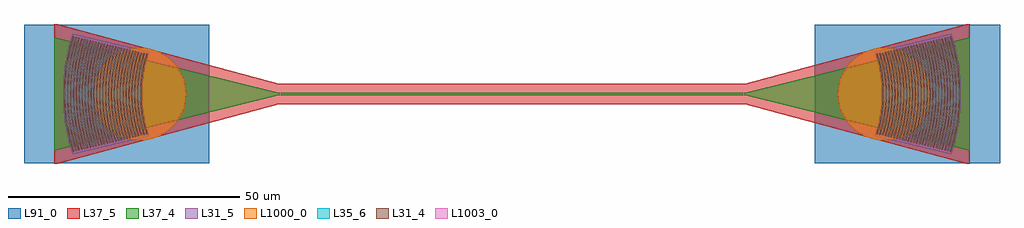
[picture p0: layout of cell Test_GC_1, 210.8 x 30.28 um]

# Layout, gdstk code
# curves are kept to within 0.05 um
from math import pi, radians
import gdstk
lib = gdstk.Library(unit=1e-6, precision=1e-09)
def R(c, l, rs):  # rectangles x0, y0, x1, y1
    for r in rs: c.add(gdstk.rectangle(r[:2], r[2:], *l))
def P(c, l, *ps):  # polygons
    for p in ps: c.add(gdstk.Polygon(p, *l))
L31_4 = (31, 4)
L31_5 = (31, 5)
L35_6 = (35, 6)
L37_4 = (37, 4)
L37_5 = (37, 5)
L91_0 = (91, 0)
L1000_0 = (1000, 0)
L1003_0 = (1003, 0)

fgccte_fcwfc1dc_630_378 = lib.new_cell('FGCCTE_FCWFC1DC_630_378')
P(fgccte_fcwfc1dc_630_378, L31_4, [(1.595,-8.78),(1.41,-8.65),(1.125,-7.745),(0.455,-4.97),(0.125,-2.615),(0,-0.24),(0.025,1.19),(0.125,2.615),(0.455,4.97),(1.125,7.745),(1.41,8.65),(1.595,8.78),(1.78,8.565),(1.125,6.3),(0.675,3.99),(0.46,2.12),(0.38,0.235),(0.43,-1.65),(0.61,-3.525),(0.83,-4.92),(1.125,-6.3),(1.78,-8.565)],
  [(0.98,-8.925),(0.795,-8.795),(0.505,-7.875),(0.13,-6.47),(-0.17,-5.05),(-0.505,-2.655),(-0.63,-0.24),(-0.605,1.21),(-0.505,2.655),(-0.17,5.05),(0.13,6.47),(0.505,7.875),(0.795,8.795),(0.98,8.925),(1.165,8.71),(0.395,5.94),(-0.02,3.58),(-0.17,2.155),(-0.25,0.24),(-0.2,-1.675),(-0.02,-3.58),(0.395,-5.94),(1.165,-8.71)],
  [(0.37,-9.07),(0.185,-8.94),(-0.11,-8.005),(-0.49,-6.575),(-0.795,-5.135),(-1.135,-2.7),(-1.26,-0.245),(-1.175,2.21),(-0.88,4.65),(-0.6,6.1),(-0.245,7.53),(0.185,8.94),(0.37,9.07),(0.55,8.855),(-0.115,6.515),(-0.58,4.125),(-0.8,2.19),(-0.88,0.245),(-0.8,-2.19),(-0.58,-4.125),(-0.115,-6.515),(0.55,-8.855)],
  [(-0.245,-9.215),(-0.43,-9.085),(-0.725,-8.13),(-1.11,-6.685),(-1.42,-5.215),(-1.76,-2.745),(-1.89,-0.25),(-1.805,2.245),(-1.65,3.735),(-1.42,5.215),(-1.11,6.685),(-0.725,8.13),(-0.43,9.085),(-0.245,9.215),(-0.06,9),(-0.735,6.62),(-1.045,5.165),(-1.275,3.7),(-1.46,1.73),(-1.515,0.245),(-1.46,-1.73),(-1.275,-3.7),(-1.045,-5.165),(-0.735,-6.62),(-0.06,-9)],
  [(-0.86,-9.36),(-1.04,-9.23),(-1.34,-8.26),(-1.73,-6.79),(-2.04,-5.3),(-2.39,-2.785),(-2.52,-0.255),(-2.435,2.28),(-2.13,4.8),(-1.845,6.295),(-1.48,7.775),(-1.04,9.23),(-0.86,9.36),(-0.675,9.145),(-1.36,6.725),(-1.83,4.26),(-2.055,2.26),(-2.145,0.25),(-2.09,-1.76),(-1.9,-3.76),(-1.67,-5.25),(-1.36,-6.725),(-0.675,-9.145)],
  [(-1.47,-9.5),(-1.655,-9.375),(-1.96,-8.39),(-2.35,-6.895),(-2.665,-5.38),(-3.02,-2.83),(-3.15,-0.26),(-3.065,2.315),(-2.755,4.875),(-2.465,6.395),(-2.1,7.895),(-1.655,9.375),(-1.47,9.5),(-1.285,9.29),(-1.98,6.83),(-2.46,4.325),(-2.685,2.295),(-2.775,0.255),(-2.72,-1.785),(-2.53,-3.82),(-1.98,-6.83),(-1.285,-9.29)],
  [(-2.085,-9.645),(-2.265,-9.52),(-2.575,-8.52),(-2.975,-7),(-3.29,-5.465),(-3.65,-2.875),(-3.78,-0.26),(-3.755,1.31),(-3.65,2.875),(-3.38,4.95),(-3.09,6.49),(-2.715,8.015),(-2.265,9.52),(-2.085,9.645),(-1.9,9.435),(-2.6,6.94),(-3.085,4.39),(-3.315,2.33),(-3.405,0.26),(-3.35,-1.815),(-3.155,-3.88),(-2.915,-5.415),(-2.6,-6.94),(-1.9,-9.435)],
  [(-2.695,-9.79),(-2.88,-9.665),(-3.2,-8.62),(-3.61,-7.035),(-3.935,-5.43),(-4.295,-2.725),(-4.415,0),(-4.295,2.725),(-3.935,5.43),(-3.61,7.035),(-3.2,8.62),(-2.88,9.665),(-2.695,9.79),(-2.51,9.58),(-2.975,8.02),(-3.355,6.445),(-3.805,3.775),(-3.96,2.16),(-4.035,0),(-3.96,-2.16),(-3.805,-3.775),(-3.355,-6.445),(-2.975,-8.02),(-2.51,-9.58)],
  [(-3.31,-9.935),(-3.495,-9.81),(-3.815,-8.75),(-4.23,-7.14),(-4.56,-5.51),(-4.925,-2.765),(-5.045,0),(-4.925,2.765),(-4.56,5.51),(-4.23,7.14),(-3.815,8.75),(-3.495,9.81),(-3.31,9.935),(-3.125,9.725),(-3.86,7.075),(-4.36,4.38),(-4.59,2.195),(-4.665,0),(-4.59,-2.195),(-4.36,-4.38),(-3.86,-7.075),(-3.125,-9.725)],
  [(-3.92,-10.08),(-4.105,-9.955),(-4.43,-8.88),(-4.85,-7.245),(-5.185,-5.59),(-5.55,-2.805),(-5.675,0),(-5.55,2.805),(-5.185,5.59),(-4.85,7.245),(-4.43,8.88),(-4.105,9.955),(-3.92,10.08),(-3.74,9.865),(-4.48,7.18),(-4.985,4.445),(-5.22,2.225),(-5.295,0),(-5.22,-2.225),(-4.985,-4.445),(-4.48,-7.18),(-3.74,-9.865)],
  [(-4.535,-10.225),(-4.72,-10.1),(-5.05,-9.005),(-5.475,-7.35),(-5.81,-5.675),(-6.18,-2.845),(-6.305,0),(-6.18,2.845),(-5.81,5.675),(-5.475,7.35),(-5.05,9.005),(-4.72,10.1),(-4.535,10.225),(-4.35,10.01),(-5.1,7.285),(-5.61,4.51),(-5.845,2.26),(-5.925,0),(-5.845,-2.26),(-5.61,-4.51),(-5.1,-7.285),(-4.35,-10.01)],
  [(-5.145,-10.37),(-5.33,-10.245),(-5.665,-9.135),(-6.095,-7.455),(-6.435,-5.755),(-6.81,-2.89),(-6.935,0),(-6.81,2.89),(-6.435,5.755),(-6.095,7.455),(-5.665,9.135),(-5.33,10.245),(-5.145,10.37),(-4.965,10.155),(-5.72,7.39),(-6.24,4.575),(-6.475,2.29),(-6.555,0),(-6.475,-2.29),(-6.24,-4.575),(-5.72,-7.39),(-4.965,-10.155)],
  [(-5.76,-10.515),(-5.945,-10.39),(-6.28,-9.265),(-6.715,-7.56),(-7.06,-5.835),(-7.44,-2.93),(-7.565,0),(-7.44,2.93),(-7.06,5.835),(-6.715,7.56),(-6.28,9.265),(-5.945,10.39),(-5.76,10.515),(-5.575,10.3),(-6.345,7.495),(-6.865,4.635),(-7.105,2.325),(-7.185,0),(-7.105,-2.325),(-6.865,-4.635),(-6.345,-7.495),(-5.575,-10.3)],
  [(-6.37,-10.66),(-6.555,-10.53),(-6.9,-9.395),(-7.335,-7.665),(-7.685,-5.915),(-8.065,-2.97),(-8.195,0),(-8.065,2.97),(-7.685,5.915),(-7.335,7.665),(-6.9,9.395),(-6.555,10.53),(-6.37,10.66),(-6.19,10.445),(-6.965,7.6),(-7.495,4.7),(-7.735,2.355),(-7.815,0),(-7.735,-2.355),(-7.495,-4.7),(-6.965,-7.6),(-6.19,-10.445)],
  [(-6.985,-10.805),(-7.17,-10.675),(-7.515,-9.52),(-7.96,-7.77),(-8.31,-5.995),(-8.695,-3.01),(-8.825,0),(-8.695,3.01),(-8.31,5.995),(-7.96,7.77),(-7.515,9.52),(-7.17,10.675),(-6.985,10.805),(-6.8,10.59),(-7.585,7.705),(-8.12,4.765),(-8.365,2.39),(-8.445,0),(-8.365,-2.39),(-8.12,-4.765),(-7.585,-7.705),(-6.8,-10.59)],
  [(-7.595,-10.945),(-7.78,-10.82),(-8.13,-9.65),(-8.58,-7.875),(-8.935,-6.075),(-9.325,-3.05),(-9.455,0),(-9.325,3.05),(-8.935,6.075),(-8.58,7.875),(-8.13,9.65),(-7.78,10.82),(-7.595,10.945),(-7.415,10.735),(-8.205,7.81),(-8.745,4.83),(-8.995,2.42),(-9.075,0),(-8.995,-2.42),(-8.745,-4.83),(-8.205,-7.81),(-7.415,-10.735)],
  [(-8.21,-11.09),(-8.395,-10.965),(-8.755,-9.745),(-9.22,-7.89),(-9.585,-6.02),(-9.975,-2.86),(-10.085,-0.32),(-9.975,2.86),(-9.585,6.02),(-9.22,7.89),(-8.755,9.745),(-8.395,10.965),(-8.21,11.09),(-8.025,10.88),(-8.705,8.445),(-9.31,5.345),(-9.595,2.84),(-9.705,0.315),(-9.64,-2.21),(-9.395,-4.72),(-8.845,-7.83),(-8.025,-10.88)],
  [(-8.825,-11.235),(-9.005,-11.11),(-9.54,-9.25),(-10.21,-6.095),(-10.545,-3.54),(-10.715,-0.32),(-10.6,2.9),(-10.21,6.095),(-9.54,9.25),(-9.005,11.11),(-8.825,11.235),(-8.64,11.025),(-9.465,7.935),(-10.025,4.785),(-10.27,2.24),(-10.335,0.32),(-10.27,-2.24),(-10.025,-4.785),(-9.465,-7.935),(-8.64,-11.025)],
  [(-9.435,-11.38),(-9.62,-11.255),(-9.99,-10),(-10.46,-8.1),(-10.835,-6.175),(-11.175,-3.585),(-11.345,-0.325),(-11.23,2.935),(-10.835,6.175),(-10.46,8.1),(-9.99,10),(-9.62,11.255),(-9.435,11.38),(-9.25,11.165),(-10.09,8.035),(-10.65,4.845),(-10.855,2.915),(-10.965,0.325),(-10.9,-2.265),(-10.65,-4.845),(-10.09,-8.035),(-9.25,-11.165)],
  [(-10.05,-11.525),(-10.23,-11.4),(-10.605,-10.13),(-11.085,-8.205),(-11.46,-6.255),(-11.805,-3.63),(-11.975,-0.33),(-11.86,2.975),(-11.46,6.255),(-11.085,8.205),(-10.605,10.13),(-10.23,11.4),(-10.05,11.525),(-9.865,11.31),(-10.71,8.14),(-11.275,4.91),(-11.485,2.95),(-11.595,0.33),(-11.53,-2.295),(-11.275,-4.91),(-10.71,-8.14),(-9.865,-11.31)],
  [(-10.66,-11.67),(-10.845,-11.54),(-11.395,-9.61),(-12.085,-6.335),(-12.49,-3.01),(-12.605,-0.335),(-12.49,3.01),(-12.085,6.335),(-11.395,9.61),(-10.845,11.54),(-10.66,11.67),(-10.475,11.455),(-11.025,9.54),(-11.33,8.245),(-11.815,5.63),(-12.11,2.99),(-12.225,0.33),(-12.16,-2.325),(-11.905,-4.97),(-11.33,-8.245),(-11.025,-9.54),(-10.475,-11.455)],
  [(-11.275,-11.815),(-11.455,-11.685),(-11.84,-10.385),(-12.325,-8.41),(-12.71,-6.41),(-13.12,-3.05),(-13.235,-0.34),(-13.12,3.05),(-12.71,6.41),(-12.325,8.41),(-11.84,10.385),(-11.455,11.685),(-11.275,11.815),(-11.09,11.6),(-11.47,10.31),(-11.95,8.35),(-12.44,5.7),(-12.74,3.025),(-12.855,0.335),(-12.785,-2.355),(-12.53,-5.035),(-12.22,-7.03),(-11.95,-8.35),(-11.47,-10.31),(-11.09,-11.6)],
  [(-11.885,-11.955),(-12.07,-11.83),(-12.455,-10.515),(-12.945,-8.515),(-13.335,-6.49),(-13.69,-3.77),(-13.865,-0.345),(-13.855,1.03),(-13.745,3.085),(-13.335,6.49),(-12.945,8.515),(-12.455,10.515),(-12.07,11.83),(-11.885,11.955),(-11.7,11.745),(-12.575,8.45),(-13.16,5.095),(-13.37,3.065),(-13.485,0.34),(-13.415,-2.385),(-13.16,-5.095),(-12.575,-8.45),(-11.7,-11.745)],
  [(-12.495,-12.1),(-12.68,-11.975),(-13.25,-9.97),(-13.96,-6.57),(-14.375,-3.125),(-14.495,-0.345),(-14.485,1.04),(-14.375,3.125),(-13.96,6.57),(-13.25,9.97),(-12.68,11.975),(-12.495,12.1),(-12.315,11.89),(-13.195,8.555),(-13.785,5.16),(-14,3.1),(-14.12,0.345),(-14.045,-2.41),(-13.785,-5.16),(-13.195,-8.555),(-12.315,-11.89)],
  [(-13.11,-12.245),(-13.295,-12.12),(-13.865,-10.09),(-14.19,-8.72),(-14.585,-6.65),(-14.945,-3.86),(-15.055,-2.46),(-15.125,-0.35),(-15.115,1.055),(-15.005,3.16),(-14.875,4.56),(-14.585,6.65),(-14.19,8.72),(-13.865,10.09),(-13.295,12.12),(-13.11,12.245),(-12.925,12.035),(-13.815,8.66),(-14.315,5.91),(-14.63,3.14),(-14.75,0.35),(-14.675,-2.44),(-14.41,-5.22),(-14.21,-6.6),(-13.815,-8.66),(-12.925,-12.035)],
  [(-13.72,-12.39),(-13.905,-12.265),(-14.305,-10.895),(-14.81,-8.825),(-15.21,-6.73),(-15.575,-3.905),(-15.685,-2.49),(-15.755,-0.355),(-15.745,1.065),(-15.635,3.2),(-15.21,6.73),(-14.81,8.825),(-14.305,10.895),(-13.905,12.265),(-13.72,12.39),(-13.54,12.175),(-14.28,9.45),(-14.945,5.98),(-15.255,3.175),(-15.38,0.355),(-15.305,-2.47),(-15.04,-5.285),(-14.715,-7.375),(-14.435,-8.76),(-14.115,-10.135),(-13.54,-12.175)],
  [(-14.335,-12.535),(-14.52,-12.405),(-14.92,-11.025),(-15.43,-8.925),(-15.835,-6.805),(-16.045,-5.38),(-16.265,-3.235),(-16.385,-0.36),(-16.375,1.08),(-16.265,3.235),(-16.045,5.38),(-15.835,6.805),(-15.43,8.925),(-14.92,11.025),(-14.52,12.405),(-14.335,12.535),(-14.15,12.32),(-14.55,10.95),(-15.06,8.865),(-15.57,6.055),(-15.885,3.215),(-16.01,0.355),(-15.935,-2.5),(-15.665,-5.345),(-15.34,-7.465),(-15.06,-8.865),(-14.55,-10.95),(-14.15,-12.32)])
P(fgccte_fcwfc1dc_630_378, L31_5, [(-14.375,-13.03),(-14.53,-12.94),(-15.13,-10.895),(-15.915,-7.34),(-16.395,-3.73),(-16.555,-0.64),(-16.465,2.82),(-16.065,6.44),(-15.355,10.015),(-14.53,12.94),(-14.375,13.03),(2.02,9.155),(2.105,8.995),(1.425,6.795),(0.9,4.335),(0.68,2.655),(0.55,0.325),(0.605,-1.725),(0.855,-4.05),(1.38,-6.62),(2.105,-8.995),(2.02,-9.155)])
P(fgccte_fcwfc1dc_630_378, L35_6, [(1.595,-8.78),(1.41,-8.65),(1.125,-7.745),(0.455,-4.97),(0.125,-2.615),(0,-0.24),(0.025,1.19),(0.125,2.615),(0.455,4.97),(1.125,7.745),(1.41,8.65),(1.595,8.78),(1.78,8.565),(1.125,6.3),(0.675,3.99),(0.46,2.12),(0.38,0.235),(0.43,-1.65),(0.61,-3.525),(0.83,-4.92),(1.125,-6.3),(1.78,-8.565)],
  [(0.98,-8.925),(0.795,-8.795),(0.505,-7.875),(0.13,-6.47),(-0.17,-5.05),(-0.505,-2.655),(-0.63,-0.24),(-0.605,1.21),(-0.505,2.655),(-0.17,5.05),(0.13,6.47),(0.505,7.875),(0.795,8.795),(0.98,8.925),(1.165,8.71),(0.395,5.94),(-0.02,3.58),(-0.17,2.155),(-0.25,0.24),(-0.2,-1.675),(-0.02,-3.58),(0.395,-5.94),(1.165,-8.71)],
  [(0.37,-9.07),(0.185,-8.94),(-0.11,-8.005),(-0.49,-6.575),(-0.795,-5.135),(-1.135,-2.7),(-1.26,-0.245),(-1.175,2.21),(-0.88,4.65),(-0.6,6.1),(-0.245,7.53),(0.185,8.94),(0.37,9.07),(0.55,8.855),(-0.115,6.515),(-0.58,4.125),(-0.8,2.19),(-0.88,0.245),(-0.8,-2.19),(-0.58,-4.125),(-0.115,-6.515),(0.55,-8.855)],
  [(-0.245,-9.215),(-0.43,-9.085),(-0.725,-8.13),(-1.11,-6.685),(-1.42,-5.215),(-1.76,-2.745),(-1.89,-0.25),(-1.805,2.245),(-1.65,3.735),(-1.42,5.215),(-1.11,6.685),(-0.725,8.13),(-0.43,9.085),(-0.245,9.215),(-0.06,9),(-0.735,6.62),(-1.045,5.165),(-1.275,3.7),(-1.46,1.73),(-1.515,0.245),(-1.46,-1.73),(-1.275,-3.7),(-1.045,-5.165),(-0.735,-6.62),(-0.06,-9)],
  [(-0.86,-9.36),(-1.04,-9.23),(-1.34,-8.26),(-1.73,-6.79),(-2.04,-5.3),(-2.39,-2.785),(-2.52,-0.255),(-2.435,2.28),(-2.13,4.8),(-1.845,6.295),(-1.48,7.775),(-1.04,9.23),(-0.86,9.36),(-0.675,9.145),(-1.36,6.725),(-1.83,4.26),(-2.055,2.26),(-2.145,0.25),(-2.09,-1.76),(-1.9,-3.76),(-1.67,-5.25),(-1.36,-6.725),(-0.675,-9.145)],
  [(-1.47,-9.5),(-1.655,-9.375),(-1.96,-8.39),(-2.35,-6.895),(-2.665,-5.38),(-3.02,-2.83),(-3.15,-0.26),(-3.065,2.315),(-2.755,4.875),(-2.465,6.395),(-2.1,7.895),(-1.655,9.375),(-1.47,9.5),(-1.285,9.29),(-1.98,6.83),(-2.46,4.325),(-2.685,2.295),(-2.775,0.255),(-2.72,-1.785),(-2.53,-3.82),(-1.98,-6.83),(-1.285,-9.29)],
  [(-2.085,-9.645),(-2.265,-9.52),(-2.575,-8.52),(-2.975,-7),(-3.29,-5.465),(-3.65,-2.875),(-3.78,-0.26),(-3.755,1.31),(-3.65,2.875),(-3.38,4.95),(-3.09,6.49),(-2.715,8.015),(-2.265,9.52),(-2.085,9.645),(-1.9,9.435),(-2.6,6.94),(-3.085,4.39),(-3.315,2.33),(-3.405,0.26),(-3.35,-1.815),(-3.155,-3.88),(-2.915,-5.415),(-2.6,-6.94),(-1.9,-9.435)],
  [(-2.695,-9.79),(-2.88,-9.665),(-3.2,-8.62),(-3.61,-7.035),(-3.935,-5.43),(-4.295,-2.725),(-4.415,0),(-4.295,2.725),(-3.935,5.43),(-3.61,7.035),(-3.2,8.62),(-2.88,9.665),(-2.695,9.79),(-2.51,9.58),(-2.975,8.02),(-3.355,6.445),(-3.805,3.775),(-3.96,2.16),(-4.035,0),(-3.96,-2.16),(-3.805,-3.775),(-3.355,-6.445),(-2.975,-8.02),(-2.51,-9.58)],
  [(-3.31,-9.935),(-3.495,-9.81),(-3.815,-8.75),(-4.23,-7.14),(-4.56,-5.51),(-4.925,-2.765),(-5.045,0),(-4.925,2.765),(-4.56,5.51),(-4.23,7.14),(-3.815,8.75),(-3.495,9.81),(-3.31,9.935),(-3.125,9.725),(-3.86,7.075),(-4.36,4.38),(-4.59,2.195),(-4.665,0),(-4.59,-2.195),(-4.36,-4.38),(-3.86,-7.075),(-3.125,-9.725)],
  [(-3.92,-10.08),(-4.105,-9.955),(-4.43,-8.88),(-4.85,-7.245),(-5.185,-5.59),(-5.55,-2.805),(-5.675,0),(-5.55,2.805),(-5.185,5.59),(-4.85,7.245),(-4.43,8.88),(-4.105,9.955),(-3.92,10.08),(-3.74,9.865),(-4.48,7.18),(-4.985,4.445),(-5.22,2.225),(-5.295,0),(-5.22,-2.225),(-4.985,-4.445),(-4.48,-7.18),(-3.74,-9.865)],
  [(-4.535,-10.225),(-4.72,-10.1),(-5.05,-9.005),(-5.475,-7.35),(-5.81,-5.675),(-6.18,-2.845),(-6.305,0),(-6.18,2.845),(-5.81,5.675),(-5.475,7.35),(-5.05,9.005),(-4.72,10.1),(-4.535,10.225),(-4.35,10.01),(-5.1,7.285),(-5.61,4.51),(-5.845,2.26),(-5.925,0),(-5.845,-2.26),(-5.61,-4.51),(-5.1,-7.285),(-4.35,-10.01)],
  [(-5.145,-10.37),(-5.33,-10.245),(-5.665,-9.135),(-6.095,-7.455),(-6.435,-5.755),(-6.81,-2.89),(-6.935,0),(-6.81,2.89),(-6.435,5.755),(-6.095,7.455),(-5.665,9.135),(-5.33,10.245),(-5.145,10.37),(-4.965,10.155),(-5.72,7.39),(-6.24,4.575),(-6.475,2.29),(-6.555,0),(-6.475,-2.29),(-6.24,-4.575),(-5.72,-7.39),(-4.965,-10.155)],
  [(-5.76,-10.515),(-5.945,-10.39),(-6.28,-9.265),(-6.715,-7.56),(-7.06,-5.835),(-7.44,-2.93),(-7.565,0),(-7.44,2.93),(-7.06,5.835),(-6.715,7.56),(-6.28,9.265),(-5.945,10.39),(-5.76,10.515),(-5.575,10.3),(-6.345,7.495),(-6.865,4.635),(-7.105,2.325),(-7.185,0),(-7.105,-2.325),(-6.865,-4.635),(-6.345,-7.495),(-5.575,-10.3)],
  [(-6.37,-10.66),(-6.555,-10.53),(-6.9,-9.395),(-7.335,-7.665),(-7.685,-5.915),(-8.065,-2.97),(-8.195,0),(-8.065,2.97),(-7.685,5.915),(-7.335,7.665),(-6.9,9.395),(-6.555,10.53),(-6.37,10.66),(-6.19,10.445),(-6.965,7.6),(-7.495,4.7),(-7.735,2.355),(-7.815,0),(-7.735,-2.355),(-7.495,-4.7),(-6.965,-7.6),(-6.19,-10.445)],
  [(-6.985,-10.805),(-7.17,-10.675),(-7.515,-9.52),(-7.96,-7.77),(-8.31,-5.995),(-8.695,-3.01),(-8.825,0),(-8.695,3.01),(-8.31,5.995),(-7.96,7.77),(-7.515,9.52),(-7.17,10.675),(-6.985,10.805),(-6.8,10.59),(-7.585,7.705),(-8.12,4.765),(-8.365,2.39),(-8.445,0),(-8.365,-2.39),(-8.12,-4.765),(-7.585,-7.705),(-6.8,-10.59)],
  [(-7.595,-10.945),(-7.78,-10.82),(-8.13,-9.65),(-8.58,-7.875),(-8.935,-6.075),(-9.325,-3.05),(-9.455,0),(-9.325,3.05),(-8.935,6.075),(-8.58,7.875),(-8.13,9.65),(-7.78,10.82),(-7.595,10.945),(-7.415,10.735),(-8.205,7.81),(-8.745,4.83),(-8.995,2.42),(-9.075,0),(-8.995,-2.42),(-8.745,-4.83),(-8.205,-7.81),(-7.415,-10.735)],
  [(-8.21,-11.09),(-8.395,-10.965),(-8.755,-9.745),(-9.22,-7.89),(-9.585,-6.02),(-9.975,-2.86),(-10.085,-0.32),(-9.975,2.86),(-9.585,6.02),(-9.22,7.89),(-8.755,9.745),(-8.395,10.965),(-8.21,11.09),(-8.025,10.88),(-8.705,8.445),(-9.31,5.345),(-9.595,2.84),(-9.705,0.315),(-9.64,-2.21),(-9.395,-4.72),(-8.845,-7.83),(-8.025,-10.88)],
  [(-8.825,-11.235),(-9.005,-11.11),(-9.54,-9.25),(-10.21,-6.095),(-10.545,-3.54),(-10.715,-0.32),(-10.6,2.9),(-10.21,6.095),(-9.54,9.25),(-9.005,11.11),(-8.825,11.235),(-8.64,11.025),(-9.465,7.935),(-10.025,4.785),(-10.27,2.24),(-10.335,0.32),(-10.27,-2.24),(-10.025,-4.785),(-9.465,-7.935),(-8.64,-11.025)],
  [(-9.435,-11.38),(-9.62,-11.255),(-9.99,-10),(-10.46,-8.1),(-10.835,-6.175),(-11.175,-3.585),(-11.345,-0.325),(-11.23,2.935),(-10.835,6.175),(-10.46,8.1),(-9.99,10),(-9.62,11.255),(-9.435,11.38),(-9.25,11.165),(-10.09,8.035),(-10.65,4.845),(-10.855,2.915),(-10.965,0.325),(-10.9,-2.265),(-10.65,-4.845),(-10.09,-8.035),(-9.25,-11.165)],
  [(-10.05,-11.525),(-10.23,-11.4),(-10.605,-10.13),(-11.085,-8.205),(-11.46,-6.255),(-11.805,-3.63),(-11.975,-0.33),(-11.86,2.975),(-11.46,6.255),(-11.085,8.205),(-10.605,10.13),(-10.23,11.4),(-10.05,11.525),(-9.865,11.31),(-10.71,8.14),(-11.275,4.91),(-11.485,2.95),(-11.595,0.33),(-11.53,-2.295),(-11.275,-4.91),(-10.71,-8.14),(-9.865,-11.31)],
  [(-10.66,-11.67),(-10.845,-11.54),(-11.395,-9.61),(-12.085,-6.335),(-12.49,-3.01),(-12.605,-0.335),(-12.49,3.01),(-12.085,6.335),(-11.395,9.61),(-10.845,11.54),(-10.66,11.67),(-10.475,11.455),(-11.025,9.54),(-11.33,8.245),(-11.815,5.63),(-12.11,2.99),(-12.225,0.33),(-12.16,-2.325),(-11.905,-4.97),(-11.33,-8.245),(-11.025,-9.54),(-10.475,-11.455)],
  [(-11.275,-11.815),(-11.455,-11.685),(-11.84,-10.385),(-12.325,-8.41),(-12.71,-6.41),(-13.12,-3.05),(-13.235,-0.34),(-13.12,3.05),(-12.71,6.41),(-12.325,8.41),(-11.84,10.385),(-11.455,11.685),(-11.275,11.815),(-11.09,11.6),(-11.47,10.31),(-11.95,8.35),(-12.44,5.7),(-12.74,3.025),(-12.855,0.335),(-12.785,-2.355),(-12.53,-5.035),(-12.22,-7.03),(-11.95,-8.35),(-11.47,-10.31),(-11.09,-11.6)],
  [(-11.885,-11.955),(-12.07,-11.83),(-12.455,-10.515),(-12.945,-8.515),(-13.335,-6.49),(-13.69,-3.77),(-13.865,-0.345),(-13.855,1.03),(-13.745,3.085),(-13.335,6.49),(-12.945,8.515),(-12.455,10.515),(-12.07,11.83),(-11.885,11.955),(-11.7,11.745),(-12.575,8.45),(-13.16,5.095),(-13.37,3.065),(-13.485,0.34),(-13.415,-2.385),(-13.16,-5.095),(-12.575,-8.45),(-11.7,-11.745)],
  [(-12.495,-12.1),(-12.68,-11.975),(-13.25,-9.97),(-13.96,-6.57),(-14.375,-3.125),(-14.495,-0.345),(-14.485,1.04),(-14.375,3.125),(-13.96,6.57),(-13.25,9.97),(-12.68,11.975),(-12.495,12.1),(-12.315,11.89),(-13.195,8.555),(-13.785,5.16),(-14,3.1),(-14.12,0.345),(-14.045,-2.41),(-13.785,-5.16),(-13.195,-8.555),(-12.315,-11.89)],
  [(-13.11,-12.245),(-13.295,-12.12),(-13.865,-10.09),(-14.19,-8.72),(-14.585,-6.65),(-14.945,-3.86),(-15.055,-2.46),(-15.125,-0.35),(-15.115,1.055),(-15.005,3.16),(-14.875,4.56),(-14.585,6.65),(-14.19,8.72),(-13.865,10.09),(-13.295,12.12),(-13.11,12.245),(-12.925,12.035),(-13.815,8.66),(-14.315,5.91),(-14.63,3.14),(-14.75,0.35),(-14.675,-2.44),(-14.41,-5.22),(-14.21,-6.6),(-13.815,-8.66),(-12.925,-12.035)],
  [(-13.72,-12.39),(-13.905,-12.265),(-14.305,-10.895),(-14.81,-8.825),(-15.21,-6.73),(-15.575,-3.905),(-15.685,-2.49),(-15.755,-0.355),(-15.745,1.065),(-15.635,3.2),(-15.21,6.73),(-14.81,8.825),(-14.305,10.895),(-13.905,12.265),(-13.72,12.39),(-13.54,12.175),(-14.28,9.45),(-14.945,5.98),(-15.255,3.175),(-15.38,0.355),(-15.305,-2.47),(-15.04,-5.285),(-14.715,-7.375),(-14.435,-8.76),(-14.115,-10.135),(-13.54,-12.175)],
  [(-14.335,-12.535),(-14.52,-12.405),(-14.92,-11.025),(-15.43,-8.925),(-15.835,-6.805),(-16.045,-5.38),(-16.265,-3.235),(-16.385,-0.36),(-16.375,1.08),(-16.265,3.235),(-16.045,5.38),(-15.835,6.805),(-15.43,8.925),(-14.92,11.025),(-14.52,12.405),(-14.335,12.535),(-14.15,12.32),(-14.55,10.95),(-15.06,8.865),(-15.57,6.055),(-15.885,3.215),(-16.01,0.355),(-15.935,-2.5),(-15.665,-5.345),(-15.34,-7.465),(-15.06,-8.865),(-14.55,-10.95),(-14.15,-12.32)])
R(fgccte_fcwfc1dc_630_378, L37_4, [(30,-0.225,30.2,0.225), (30.2,-0.225,30.4,0.225)])
P(fgccte_fcwfc1dc_630_378, L37_4, [(-18,-12.14),(-18,12.14),(30,0.225),(30,-0.225)],
  [(-18.5,-12.165),(-18.5,12.165),(-18,12.14),(-18,-12.14)])
R(fgccte_fcwfc1dc_630_378, L37_5, [(30,-2.225,30.2,2.225), (30.2,-2.225,30.4,2.225)])
P(fgccte_fcwfc1dc_630_378, L37_5, [(-18,-15.14),(-18,15.14),(30,2.225),(30,-2.225)],
  [(-18,-15.14),(-18.5,-15.115),(-18.5,15.115),(-18,15.14)])
R(fgccte_fcwfc1dc_630_378, L91_0, [(-25,-15,15,15)])
P(fgccte_fcwfc1dc_630_378, L1000_0, [(-0.175,-10),(-1.39,-9.905),(-2.25,-9.745),(-3.905,-9.205),(-5.59,-8.29),(-6.43,-7.66),(-7.195,-6.945),(-7.88,-6.155),(-8.48,-5.3),(-9.335,-3.585),(-9.85,-1.735),(-10,0.175),(-9.905,1.39),(-9.745,2.25),(-9.205,3.905),(-8.29,5.59),(-7.66,6.43),(-6.945,7.195),(-6.155,7.88),(-5.3,8.48),(-3.585,9.335),(-1.735,9.85),(0.175,10),(1.39,9.905),(2.25,9.745),(3.905,9.205),(5.59,8.29),(6.43,7.66),(7.195,6.945),(7.88,6.155),(8.48,5.3),(9.335,3.585),(9.85,1.735),(10,-0.175),(9.905,-1.39),(9.745,-2.25),(9.205,-3.905),(8.29,-5.59),(7.66,-6.43),(6.945,-7.195),(6.155,-7.88),(5.3,-8.48),(3.585,-9.335),(1.735,-9.85)])
R(fgccte_fcwfc1dc_630_378, L1003_0, [(30.2,-0.225,30.4,0.225)])
fgccte_fcwfc1dc_630_378.add(gdstk.Label('FGCCTE_FCWFC1DC_630_378', (2.7,0.5), layer=1002, texttype=0))
fgccte_fcwfc1dc_630_378.add(gdstk.Label('ISIPP50G_2_3_0', (2.7,0), layer=1002, texttype=0))
fgccte_fcwfc1dc_630_378.add(gdstk.Label('imec_cell', (2.7,-0.5), layer=1002, texttype=0))

wiretaper_1 = lib.new_cell('WireTaper_1')
R(wiretaper_1, L37_4, [(0,-0.225,100,0.225)])
R(wiretaper_1, L37_5, [(0,-2.225,100,2.225)])

test_gc_1 = lib.new_cell('Test_GC_1')
test_gc_1.add(gdstk.Reference(fgccte_fcwfc1dc_630_378, (-30.4,0)))
test_gc_1.add(gdstk.Reference(wiretaper_1, (0,0)))
test_gc_1.add(gdstk.Reference(fgccte_fcwfc1dc_630_378, (130.4,0), rotation=pi, x_reflection=True))

lib.write_gds('Test_GC_1.gds')
